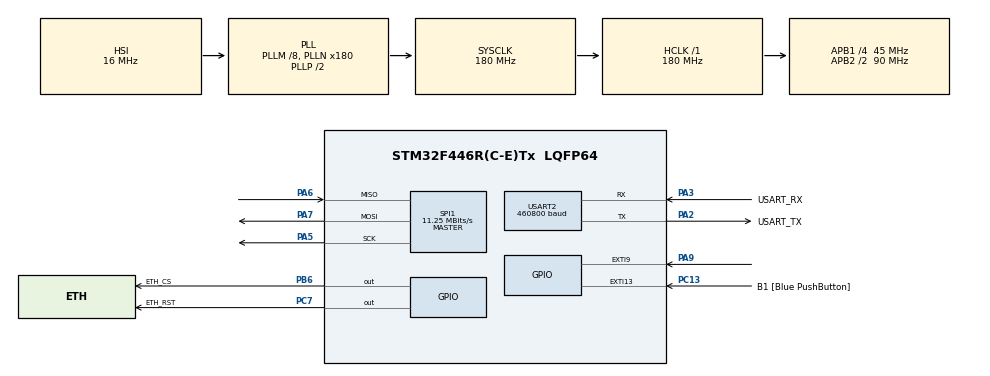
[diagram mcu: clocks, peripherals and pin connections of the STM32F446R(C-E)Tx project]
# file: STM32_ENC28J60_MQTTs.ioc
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FREERTOS.Tasks01=defaultTask,24,128,StartDefaultTask,Default,NULL,Dynamic,NULL,NULL
FREERTOS.configCHECK_FOR_STACK_OVERFLOW=2
FREERTOS.configUSE_NEWLIB_REENTRANT=1
Mcu.Family=STM32F4
Mcu.Name=STM32F446R(C-E)Tx
Mcu.Package=LQFP64
NVIC.PriorityGroup=NVIC_PRIORITYGROUP_4
NVIC.TIM1_UP_TIM10_IRQn=true\:15\:0\:false\:false\:true\:false\:false\:true\:true
NVIC.TimeBase=TIM1_UP_TIM10_IRQn
NVIC.TimeBaseIP=TIM1
NVIC.USART2_IRQn=true\:5\:0\:false\:false\:true\:true\:true\:true\:true
PA13.GPIO_Label=TMS
PA13.Mode=Trace_Asynchronous_SW
PA13.Signal=SYS_JTMS-SWDIO
PA14.GPIO_Label=TCK
PA14.Mode=Trace_Asynchronous_SW
PA14.Signal=SYS_JTCK-SWCLK
PA2.GPIO_Label=USART_TX
PA2.Mode=Asynchronous
PA2.Signal=USART2_TX
PA3.GPIO_Label=USART_RX
PA3.Mode=Asynchronous
PA3.Signal=USART2_RX
PA5.Mode=Full_Duplex_Master
PA5.Signal=SPI1_SCK
PA6.Mode=Full_Duplex_Master
PA6.Signal=SPI1_MISO
PA7.Mode=Full_Duplex_Master
PA7.Signal=SPI1_MOSI
PA9.Signal=GPXTI9
PB3.Mode=Trace_Asynchronous_SW
PB3.Signal=SYS_JTDO-SWO
PB6.GPIO_Label=ETH_CS
PB6.Signal=GPIO_Output
PC13.GPIO_Label=B1 [Blue PushButton]
PC13.GPIO_ModeDefaultEXTI=GPIO_MODE_IT_FALLING
PC13.Signal=GPXTI13
PC14-OSC32_IN.Signal=RCC_OSC32_IN
PC15-OSC32_OUT.Signal=RCC_OSC32_OUT
PC7.GPIO_Label=ETH_RST
PC7.Signal=GPIO_Output
PH0-OSC_IN.Signal=RCC_OSC_IN
PH1-OSC_OUT.Signal=RCC_OSC_OUT
ProjectManager.HeapSize=0x200
ProjectManager.StackSize=0x400
ProjectManager.TargetToolchain=STM32CubeIDE
RCC.48MHZClocksFreq_Value=84000000
RCC.AHBFreq_Value=180000000
RCC.APB1CLKDivider=RCC_HCLK_DIV4
RCC.APB1Freq_Value=45000000
RCC.APB1TimFreq_Value=90000000
RCC.APB2CLKDivider=RCC_HCLK_DIV2
RCC.APB2Freq_Value=90000000
RCC.APB2TimFreq_Value=180000000
RCC.CortexFreq_Value=180000000
RCC.FLatency-AdvancedSettings=FLASH_LATENCY_5
RCC.HCLKFreq_Value=180000000
RCC.HSE_VALUE=8000000
RCC.HSI_VALUE=16000000
RCC.PLLM=8
RCC.PLLN=180
RCC.SYSCLKFreq_VALUE=180000000
RCC.SYSCLKSource=RCC_SYSCLKSOURCE_PLLCLK
RCC.USBFreq_Value=180000000
RCC.VCOOutputFreq_Value=360000000
SPI1.BaudRatePrescaler=SPI_BAUDRATEPRESCALER_8
SPI1.CalculateBaudRate=11.25 MBits/s
SPI1.Direction=SPI_DIRECTION_2LINES
SPI1.Mode=SPI_MODE_MASTER
SPI1.VirtualType=VM_MASTER
USART2.BaudRate=460800
USART2.VirtualMode=VM_ASYNC
VP_FREERTOS_VS_CMSIS_V2.Mode=CMSIS_V2
VP_SYS_VS_tim1.Mode=TIM1
board=NUCLEO-F446RE

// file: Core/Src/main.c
/* USER CODE BEGIN Header */
/**
 ******************************************************************************
 * @file           : main.c
 * @brief          : Main program body
 ******************************************************************************
 * @attention
 *
 * Copyright (c) 2023 STMicroelectronics.
 * All rights reserved.
 *
 * This software is licensed under terms that can be found in the LICENSE file
 * in the root directory of this software component.
 * If no LICENSE file comes with this software, it is provided AS-IS.
 *
 ******************************************************************************
 */
/* USER CODE END Header */
#include "main.h"
#include "cmsis_os.h"

/* USER CODE BEGIN Includes */
#include <lwip/inet.h>
#include <lwip/tcp.h>
#include <lwip/netif.h>
#include <lwip/init.h>
#include <lwip/timeouts.h>
#include <lwip/ip_addr.h>
#include <netif/etharp.h>

#include <mchdrv.h>
#include <enc28j60.h>

#include <console.h>
#include <GatewayComstack.h>
/* USER CODE END Includes */

SPI_HandleTypeDef hspi1;

UART_HandleTypeDef huart2;

/* Definitions for defaultTask */
osThreadId_t defaultTaskHandle;
const osThreadAttr_t defaultTask_attributes = {
  .name = "defaultTask",
  .stack_size = 128 * 4,
  .priority = (osPriority_t) osPriorityNormal,
};
/* USER CODE BEGIN PV */
ip_addr_t mch_myip_addr; /* 192.168.0.2 */
ip_addr_t gw_addr;
ip_addr_t netmask; /* 192.168.0.1 */

static struct netif mchdrv_netif;
static enc_device_t mchdrv_hw;
/* USER CODE END PV */

void SystemClock_Config(void);
static void MX_GPIO_Init(void);
static void MX_USART2_UART_Init(void);
static void MX_SPI1_Init(void);
void StartDefaultTask(void *argument);

/* USER CODE BEGIN 0 */
void mch_net_init(void)
{
  // Initialize LWIP
  lwip_init();

  mchdrv_netif.hwaddr_len = 6;
  /* demo mac address */
  mchdrv_netif.hwaddr[0] = 0xee;
  mchdrv_netif.hwaddr[1] = 0x1e;
  mchdrv_netif.hwaddr[2] = 0x2e;
  mchdrv_netif.hwaddr[3] = 0x3e;
  mchdrv_netif.hwaddr[4] = 0x4e;
  mchdrv_netif.hwaddr[5] = 0x5e;

  IP4_ADDR(&gw_addr, 192, 168, 1, 1);
  IP4_ADDR(&mch_myip_addr, 192, 168, 1, 211);
  IP4_ADDR(&netmask, 255, 255, 255, 0);

  // Add our netif to LWIP (netif_add calls our driver initialization function)
  if (netif_add(&mchdrv_netif, &mch_myip_addr, &netmask, &gw_addr, &mchdrv_hw,
                mchdrv_init, ethernet_input) == NULL)
  {
    LWIP_ASSERT("mch_net_init: netif_add (mchdrv_init) failed\n", 0);
  }

  netif_set_default(&mchdrv_netif);
  netif_set_up(&mchdrv_netif);
}

void mch_net_poll(void)
{
  mchdrv_poll(&mchdrv_netif);
}

uint32_t sys_now(void)
{
  return HAL_GetTick();
}
/* USER CODE END 0 */

int main(void)
{

  /* MCU Configuration--------------------------------------------------------*/

  /* Reset of all peripherals, Initializes the Flash interface and the Systick. */
  HAL_Init();

  /* Configure the system clock */
  SystemClock_Config();

  /* Initialize all configured peripherals */
  MX_GPIO_Init();
  MX_USART2_UART_Init();
  MX_SPI1_Init();
  /* USER CODE BEGIN 2 */
  mch_net_init();

  /* USER CODE END 2 */

  /* Init scheduler */
  osKernelInitialize();

  /* Create the thread(s) */
  /* creation of defaultTask */
  defaultTaskHandle = osThreadNew(StartDefaultTask, NULL, &defaultTask_attributes);

  /* Start scheduler */
  osKernelStart();

  /* We should never get here as control is now taken by the scheduler */
  /* Infinite loop */
  while (1)
  {

  }
}

void SystemClock_Config(void)
{
  RCC_OscInitTypeDef RCC_OscInitStruct = {0};
  RCC_ClkInitTypeDef RCC_ClkInitStruct = {0};

  /** Configure the main internal regulator output voltage
  */
  __HAL_RCC_PWR_CLK_ENABLE();
  __HAL_PWR_VOLTAGESCALING_CONFIG(PWR_REGULATOR_VOLTAGE_SCALE1);

  /** Initializes the RCC Oscillators according to the specified parameters
  * in the RCC_OscInitTypeDef structure.
  */
  RCC_OscInitStruct.OscillatorType = RCC_OSCILLATORTYPE_HSI;
  RCC_OscInitStruct.HSIState = RCC_HSI_ON;
  RCC_OscInitStruct.HSICalibrationValue = RCC_HSICALIBRATION_DEFAULT;
  RCC_OscInitStruct.PLL.PLLState = RCC_PLL_ON;
  RCC_OscInitStruct.PLL.PLLSource = RCC_PLLSOURCE_HSI;
  RCC_OscInitStruct.PLL.PLLM = 8;
  RCC_OscInitStruct.PLL.PLLN = 180;
  RCC_OscInitStruct.PLL.PLLP = RCC_PLLP_DIV2;
  RCC_OscInitStruct.PLL.PLLQ = 2;
  RCC_OscInitStruct.PLL.PLLR = 2;
  if (HAL_RCC_OscConfig(&RCC_OscInitStruct) != HAL_OK)
  {
    Error_Handler();
  }

  /** Activate the Over-Drive mode
  */
  if (HAL_PWREx_EnableOverDrive() != HAL_OK)
  {
    Error_Handler();
  }

  /** Initializes the CPU, AHB and APB buses clocks
  */
  RCC_ClkInitStruct.ClockType = RCC_CLOCKTYPE_HCLK|RCC_CLOCKTYPE_SYSCLK
                              |RCC_CLOCKTYPE_PCLK1|RCC_CLOCKTYPE_PCLK2;
  RCC_ClkInitStruct.SYSCLKSource = RCC_SYSCLKSOURCE_PLLCLK;
  RCC_ClkInitStruct.AHBCLKDivider = RCC_SYSCLK_DIV1;
  RCC_ClkInitStruct.APB1CLKDivider = RCC_HCLK_DIV4;
  RCC_ClkInitStruct.APB2CLKDivider = RCC_HCLK_DIV2;

  if (HAL_RCC_ClockConfig(&RCC_ClkInitStruct, FLASH_LATENCY_5) != HAL_OK)
  {
    Error_Handler();
  }
}

static void MX_SPI1_Init(void)
{

  /* SPI1 parameter configuration*/
  hspi1.Instance = SPI1;
  hspi1.Init.Mode = SPI_MODE_MASTER;
  hspi1.Init.Direction = SPI_DIRECTION_2LINES;
  hspi1.Init.DataSize = SPI_DATASIZE_8BIT;
  hspi1.Init.CLKPolarity = SPI_POLARITY_LOW;
  hspi1.Init.CLKPhase = SPI_PHASE_1EDGE;
  hspi1.Init.NSS = SPI_NSS_SOFT;
  hspi1.Init.BaudRatePrescaler = SPI_BAUDRATEPRESCALER_8;
  hspi1.Init.FirstBit = SPI_FIRSTBIT_MSB;
  hspi1.Init.TIMode = SPI_TIMODE_DISABLE;
  hspi1.Init.CRCCalculation = SPI_CRCCALCULATION_DISABLE;
  hspi1.Init.CRCPolynomial = 10;
  if (HAL_SPI_Init(&hspi1) != HAL_OK)
  {
    Error_Handler();
  }

}

static void MX_USART2_UART_Init(void)
{

  huart2.Instance = USART2;
  huart2.Init.BaudRate = 460800;
  huart2.Init.WordLength = UART_WORDLENGTH_8B;
  huart2.Init.StopBits = UART_STOPBITS_1;
  huart2.Init.Parity = UART_PARITY_NONE;
  huart2.Init.Mode = UART_MODE_TX_RX;
  huart2.Init.HwFlowCtl = UART_HWCONTROL_NONE;
  huart2.Init.OverSampling = UART_OVERSAMPLING_16;
  if (HAL_UART_Init(&huart2) != HAL_OK)
  {
    Error_Handler();
  }

}

static void MX_GPIO_Init(void)
{
  GPIO_InitTypeDef GPIO_InitStruct = {0};

  /* GPIO Ports Clock Enable */
  __HAL_RCC_GPIOC_CLK_ENABLE();
  __HAL_RCC_GPIOH_CLK_ENABLE();
  __HAL_RCC_GPIOA_CLK_ENABLE();
  __HAL_RCC_GPIOB_CLK_ENABLE();

  /*Configure GPIO pin Output Level */
  HAL_GPIO_WritePin(ETH_RST_GPIO_Port, ETH_RST_Pin, GPIO_PIN_RESET);

  /*Configure GPIO pin Output Level */
  HAL_GPIO_WritePin(ETH_CS_GPIO_Port, ETH_CS_Pin, GPIO_PIN_RESET);

  /*Configure GPIO pin : B1_Pin */
  GPIO_InitStruct.Pin = B1_Pin;
  GPIO_InitStruct.Mode = GPIO_MODE_IT_FALLING;
  GPIO_InitStruct.Pull = GPIO_NOPULL;
  HAL_GPIO_Init(B1_GPIO_Port, &GPIO_InitStruct);

  /*Configure GPIO pin : ETH_RST_Pin */
  GPIO_InitStruct.Pin = ETH_RST_Pin;
  GPIO_InitStruct.Mode = GPIO_MODE_OUTPUT_PP;
  GPIO_InitStruct.Pull = GPIO_NOPULL;
  GPIO_InitStruct.Speed = GPIO_SPEED_FREQ_LOW;
  HAL_GPIO_Init(ETH_RST_GPIO_Port, &GPIO_InitStruct);

  /*Configure GPIO pin : PA9 */
  GPIO_InitStruct.Pin = GPIO_PIN_9;
  GPIO_InitStruct.Mode = GPIO_MODE_IT_RISING;
  GPIO_InitStruct.Pull = GPIO_NOPULL;
  HAL_GPIO_Init(GPIOA, &GPIO_InitStruct);

  /*Configure GPIO pin : ETH_CS_Pin */
  GPIO_InitStruct.Pin = ETH_CS_Pin;
  GPIO_InitStruct.Mode = GPIO_MODE_OUTPUT_PP;
  GPIO_InitStruct.Pull = GPIO_NOPULL;
  GPIO_InitStruct.Speed = GPIO_SPEED_FREQ_LOW;
  HAL_GPIO_Init(ETH_CS_GPIO_Port, &GPIO_InitStruct);

}

void StartDefaultTask(void *argument)
{
  /* USER CODE BEGIN 5 */
  /* Infinite loop */
  for (;;)
  {
    mch_net_poll();
    sys_check_timeouts();
    osDelay(pdMS_TO_TICKS(2));
  }
  /* USER CODE END 5 */
}

void HAL_TIM_PeriodElapsedCallback(TIM_HandleTypeDef *htim)
{
  if (htim->Instance == TIM1) {
    HAL_IncTick();
  }
}

void Error_Handler(void)
{
  __disable_irq();
  while (1)
  {
  }
}

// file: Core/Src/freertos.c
/* USER CODE BEGIN Header */
/**
 ******************************************************************************
 * File Name          : freertos.c
 * Description        : Code for freertos applications
 ******************************************************************************
 * @attention
 *
 * Copyright (c) 2023 STMicroelectronics.
 * All rights reserved.
 *
 * This software is licensed under terms that can be found in the LICENSE file
 * in the root directory of this software component.
 * If no LICENSE file comes with this software, it is provided AS-IS.
 *
 ******************************************************************************
 */
/* USER CODE END Header */

#include "FreeRTOS.h"
#include "task.h"
#include "main.h"

/* Hook prototypes */
void vApplicationStackOverflowHook(xTaskHandle xTask, signed char *pcTaskName);

/* USER CODE BEGIN 4 */
void vApplicationStackOverflowHook(xTaskHandle xTask, signed char *pcTaskName)
{
  /* Run time stack overflow checking is performed if
  configCHECK_FOR_STACK_OVERFLOW is defined to 1 or 2. This hook function is
  called if a stack overflow is detected. */
}
/* USER CODE END 4 */
